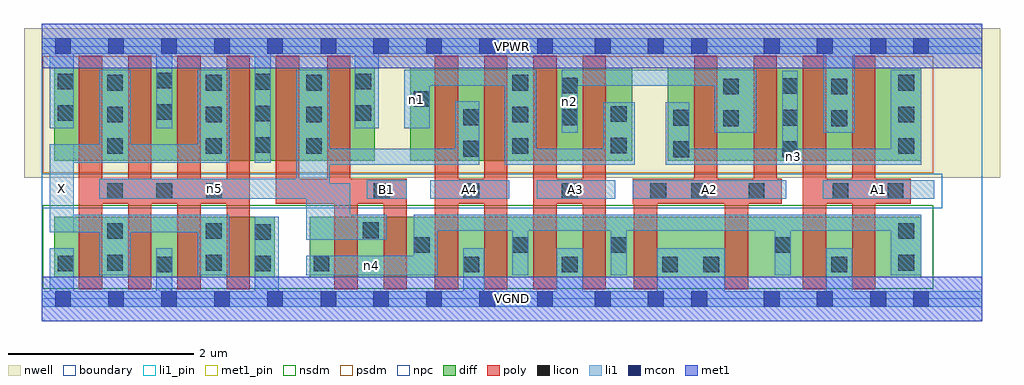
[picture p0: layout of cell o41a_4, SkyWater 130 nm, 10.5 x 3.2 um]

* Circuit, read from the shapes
.subckt o41a_4 A1 A2 A3 A4 B1 VGND VPWR X n1 n2 n3 n4 n5
XM1 X n5 VGND VSUBS sky130_fd_pr__nfet_01v8 w=0.65 l=0.25 m=4
XM2 n5 B1 n4 VSUBS sky130_fd_pr__nfet_01v8 w=0.65 l=0.25 m=2
XM3 VGND A4 n4 VSUBS sky130_fd_pr__nfet_01v8 w=0.65 l=0.25 m=2
XM4 VGND A3 n4 VSUBS sky130_fd_pr__nfet_01v8 w=0.65 l=0.25 m=2
XM5 VGND A2 n4 VSUBS sky130_fd_pr__nfet_01v8 w=0.65 l=0.25 m=2
XM6 VGND A1 n4 VSUBS sky130_fd_pr__nfet_01v8 w=0.65 l=0.25 m=2
XM7 X n5 VPWR n6 sky130_fd_pr__pfet_01v8 w=1 l=0.25 m=4
XM8 n5 B1 VPWR n6 sky130_fd_pr__pfet_01v8 w=1 l=0.25 m=2
XM9 n5 A4 n1 n6 sky130_fd_pr__pfet_01v8 w=1 l=0.25 m=2
XM10 n2 A3 n1 n6 sky130_fd_pr__pfet_01v8 w=1 l=0.25 m=2
XM11 n2 A2 n3 n6 sky130_fd_pr__pfet_01v8 w=1 l=0.25 m=2
XM12 VPWR A1 n3 n6 sky130_fd_pr__pfet_01v8 w=1 l=0.25 m=2
.ends

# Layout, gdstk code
import gdstk
lib = gdstk.Library(unit=1e-6, precision=1e-09)
def R(c, l, rs):  # rectangles x0, y0, x1, y1
    for r in rs: c.add(gdstk.rectangle(r[:2], r[2:], *l))
def A(c, l, x, y, w, h, nx, ny, dx, dy):  # array of equal rectangles
    R(c, l, [(x+i*dx, y+j*dy, x+i*dx+w, y+j*dy+h) for i in range(nx) for j in range(ny)])
nwell = (64, 20)
diff = (65, 20)
poly = (66, 20)
licon = (66, 44)
li1_pin = (67, 16)
li1 = (67, 20)
mcon = (67, 44)
met1_pin = (68, 16)
met1 = (68, 20)
nsdm = (93, 44)
psdm = (94, 20)
npc = (95, 20)
boundary = (235, 4)

o41a_4 = lib.new_cell('o41a_4')
R(o41a_4, nwell, [(-0.19,1.305,10.31,2.91), (0,1.305,10.12,2.91)])
R(o41a_4, diff, [(0.135,0.235,2.505,0.885), (2.885,0.235,9.465,0.885), (0.135,1.485,3.585,2.485), (3.965,1.485,6.355,2.485), (6.735,1.485,9.465,2.485)])
A(o41a_4, poly, 0.4, 0.105, 0.25, 2.51, 4, 1, 0.53, 0)
A(o41a_4, poly, 4.23, 0.105, 0.25, 2.51, 4, 1, 0.53, 0)
R(o41a_4, poly, [(3.15,0.105,3.4,1.295), (3.68,0.105,3.93,1.295), (6.37,0.105,6.62,1.295), (7.35,0.105,7.6,1.295), (8.19,0.105,8.44,2.615), (8.72,0.105,8.97,2.615), (0.4,1.025,2.24,1.295), (2.52,1.025,3.93,1.295), (2.52,1.025,2.77,2.615), (3.07,1.025,3.32,2.615), (4.23,1.025,5.01,1.295), (5.29,1.025,6.07,1.295), (6.36,1.025,7.96,1.295), (7.02,1.025,7.27,2.615), (7.66,1.025,7.91,2.615), (8.19,1.025,9.35,1.295)])
A(o41a_4, licon, 4.005, 0.495, 0.17, 0.17, 3, 1, 1.06, 0)
A(o41a_4, licon, 7.965, 1.525, 0.17, 0.17, 1, 3, 0, 0.34)
A(o41a_4, licon, 0.705, 1.56, 0.17, 0.17, 1, 3, 0, 0.34)
A(o41a_4, licon, 1.765, 1.56, 0.17, 0.17, 1, 3, 0, 0.34)
A(o41a_4, licon, 2.845, 1.56, 0.17, 0.17, 1, 3, 0, 0.34)
A(o41a_4, licon, 5.065, 1.56, 0.17, 0.17, 1, 3, 0, 0.34)
A(o41a_4, licon, 9.215, 1.56, 0.17, 0.17, 1, 3, 0, 0.34)
A(o41a_4, licon, 2.295, 1.57, 0.17, 0.17, 1, 3, 0, 0.34)
R(o41a_4, licon, [(1.235,0.285,1.405,0.455), (4.535,0.285,4.705,0.455), (5.595,0.285,5.765,0.455), (6.675,0.285,6.845,0.455), (7.12,0.285,7.29,0.455), (8.495,0.285,8.665,0.455), (0.175,0.295,0.345,0.465), (2.295,0.295,2.465,0.465), (2.925,0.295,3.095,0.465), (0.705,0.305,0.875,0.475), (1.765,0.305,1.935,0.475), (9.215,0.305,9.385,0.475), (7.89,0.495,8.06,0.665), (2.295,0.635,2.465,0.805), (0.705,0.645,0.875,0.815), (1.765,0.645,1.935,0.815), (9.215,0.645,9.385,0.815), (3.455,0.655,3.625,0.825), (0.705,1.075,0.875,1.245), (1.235,1.075,1.405,1.245), (1.77,1.075,1.94,1.245), (3.575,1.075,3.745,1.245), (4.535,1.075,4.705,1.245), (5.595,1.075,5.765,1.245), (6.55,1.075,6.72,1.245), (6.99,1.075,7.16,1.245), (7.605,1.075,7.775,1.245), (8.51,1.075,8.68,1.245), (9.1,1.075,9.27,1.245), (6.795,1.525,6.965,1.695), (4.535,1.53,4.705,1.7), (6.125,1.565,6.295,1.735), (7.33,1.86,7.5,2.03), (8.495,1.86,8.665,2.03), (6.795,1.865,6.965,2.035), (4.535,1.87,4.705,2.04), (5.595,1.87,5.765,2.04), (6.125,1.905,6.295,2.075), (0.175,1.915,0.345,2.085), (3.375,1.915,3.545,2.085), (1.235,1.925,1.405,2.095), (4.005,2.065,4.175,2.235), (7.33,2.2,7.5,2.37), (8.495,2.2,8.665,2.37), (5.595,2.21,5.765,2.38), (0.175,2.255,0.345,2.425), (3.375,2.255,3.545,2.425), (1.235,2.265,1.405,2.435)])
R(o41a_4, li1_pin, [(0.085,0.715,0.345,1.665), (3.495,1.075,3.93,1.275), (4.18,1.075,5.03,1.275), (5.325,1.075,6.17,1.275), (6.36,1.075,8.01,1.275), (8.405,1.075,9.605,1.275)])
R(o41a_4, li1, [(0,-0.085,10.12,0.085), (0.085,-0.085,0.345,0.545), (1.235,-0.085,1.405,0.545), (2.295,-0.085,2.55,0.885), (4.535,-0.085,4.76,0.545), (5.54,-0.085,5.82,0.545), (6.62,-0.085,7.35,0.545), (8.44,-0.085,8.72,0.545), (0.62,0.255,0.96,0.905), (1.68,0.255,2.02,0.905), (2.845,0.255,4.26,0.465), (4.005,0.255,4.26,0.905), (5.065,0.255,5.235,0.905), (6.125,0.255,6.295,0.905), (7.885,0.255,8.06,0.905), (9.135,0.255,9.465,0.905), (2.845,0.635,3.71,0.905), (2.845,0.635,3.32,1.245), (0.085,0.715,2.02,0.905), (0.085,0.715,0.345,1.665), (4.005,0.735,9.465,0.905), (0.62,1.075,3.1,1.295), (2.74,1.075,3.1,2.465), (3.495,1.075,3.93,1.275), (4.18,1.075,5.03,1.275), (5.325,1.075,6.17,1.275), (6.36,1.075,8.01,1.275), (8.405,1.075,9.605,1.275), (2.74,1.445,4.705,1.615), (4.45,1.445,4.705,2.125), (4.98,1.445,5.32,2.465), (4.98,1.445,6.38,1.615), (6.04,1.445,6.38,2.115), (6.715,1.445,9.465,1.615), (6.715,1.445,6.965,2.115), (7.965,1.445,8.135,2.455), (9.135,1.445,9.465,2.465), (0.085,1.465,2.02,1.665), (0.62,1.465,0.96,2.465), (1.68,1.465,2.02,2.465), (2.295,1.465,2.465,2.805), (5.595,1.785,5.765,2.465), (7.24,1.785,7.69,2.465), (8.41,1.785,8.75,2.805), (0.085,1.835,0.345,2.805), (1.235,1.835,1.405,2.805), (3.37,1.835,3.625,2.805), (3.9,1.835,4.175,2.465), (3.9,2.295,5.32,2.465), (5.595,2.295,7.69,2.465), (0,2.635,10.12,2.805)])
A(o41a_4, mcon, 0.145, -0.085, 0.17, 0.17, 5, 2, 0.57, 2.72)
A(o41a_4, mcon, 4.71, -0.085, 0.17, 0.17, 3, 2, 0.62, 2.72)
R(o41a_4, mcon, [(3,-0.085,3.17,0.085), (3.565,-0.085,3.735,0.085), (4.135,-0.085,4.305,0.085), (6.52,-0.085,6.69,0.085), (6.99,-0.085,7.16,0.085), (7.77,-0.085,7.94,0.085), (8.34,-0.085,8.51,0.085), (8.915,-0.085,9.085,0.085), (9.375,-0.085,9.545,0.085), (3,2.635,3.17,2.805), (3.565,2.635,3.735,2.805), (4.135,2.635,4.305,2.805), (6.52,2.635,6.69,2.805), (6.99,2.635,7.16,2.805), (7.77,2.635,7.94,2.805), (8.34,2.635,8.51,2.805), (8.915,2.635,9.085,2.805), (9.375,2.635,9.545,2.805)])
R(o41a_4, met1_pin, [(0,-0.24,10.12,0.24), (0,2.48,10.12,2.96)])
R(o41a_4, met1, [(0,-0.24,10.12,0.24), (0,2.48,10.12,2.96)])
R(o41a_4, nsdm, [(0.01,0.11,9.59,1.01)])
R(o41a_4, psdm, [(0.01,1.36,9.59,2.61)])
R(o41a_4, npc, [(0,0.975,9.69,1.345)])
R(o41a_4, boundary, [(0,0,10.12,2.72)])
o41a_4.add(gdstk.Label('A1', (9.005,1.175), layer=67, texttype=5))
o41a_4.add(gdstk.Label('A2', (7.185,1.175), layer=67, texttype=5))
o41a_4.add(gdstk.Label('A3', (5.747,1.175), layer=67, texttype=5))
o41a_4.add(gdstk.Label('A4', (4.605,1.175), layer=67, texttype=5))
o41a_4.add(gdstk.Label('B1', (3.712,1.175), layer=67, texttype=5))
o41a_4.add(gdstk.Label('X', (0.215,1.19), layer=67, texttype=5))
o41a_4.add(gdstk.Label('n4', (3.552,0.36), layer=67, texttype=5))
o41a_4.add(gdstk.Label('n5', (1.86,1.185), layer=67, texttype=5))
o41a_4.add(gdstk.Label('n1', (4.037,2.15), layer=67, texttype=5))
o41a_4.add(gdstk.Label('n2', (5.68,2.125), layer=67, texttype=5))
o41a_4.add(gdstk.Label('n3', (8.09,1.53), layer=67, texttype=5))
o41a_4.add(gdstk.Label('VPWR', (5.06,2.72), layer=68, texttype=5))
o41a_4.add(gdstk.Label('VGND', (5.06,0), layer=68, texttype=5))
o41a_4.add(gdstk.Label('A1', (9.005,1.175), layer=67, texttype=16))
o41a_4.add(gdstk.Label('A2', (7.185,1.175), layer=67, texttype=16))
o41a_4.add(gdstk.Label('A3', (5.747,1.175), layer=67, texttype=16))
o41a_4.add(gdstk.Label('A4', (4.605,1.175), layer=67, texttype=16))
o41a_4.add(gdstk.Label('B1', (3.712,1.175), layer=67, texttype=16))
o41a_4.add(gdstk.Label('X', (0.215,1.19), layer=67, texttype=16))
o41a_4.add(gdstk.Label('VPWR', (5.06,2.72), layer=68, texttype=16))
o41a_4.add(gdstk.Label('VGND', (5.06,0), layer=68, texttype=16))

lib.write_gds('o41a_4.gds')
